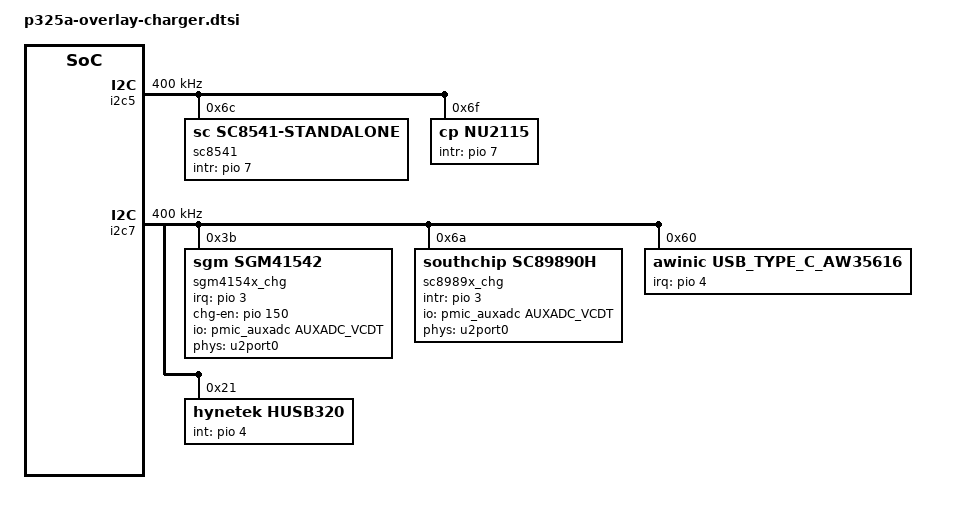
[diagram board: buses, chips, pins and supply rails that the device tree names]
/*[TN.NJDC] charger overlay file.start*/
#include <dt-bindings/iio/mt635x-auxadc.h>
#include <dt-bindings/phy/phy.h>

&charger {
	battery_cv = <4500000>;
};

&pe4 {
	status = "disabled";
};

&pe2 {
	status = "disabled";
};

&pe {
	status = "disabled";
};

&i2c5 {
	clock-frequency = <400000>;
	status = "ok";

	sc8541@6C {
		compatible = "sc,sc8541-standalone";
		reg = <0x6C>;
		charger_name = "primary_dvchg";
		sc8541,intr_gpio = <&pio 7 IRQ_TYPE_EDGE_FALLING>;
		sc8541,intr_gpio_num = <7>;

		sc,sc8541,vbat-ovp-dis = <0>;
		sc,sc8541,vbat-ovp = <90>; /*3840 + val * 10*/
		sc,sc8541,vbat-ovp-alm-dis = <1>;
		sc,sc8541,vbat-ovp-alm = <70>; /*3840 + val * 10*/
		sc,sc8541,ibat-ocp-dis = <1>;
		sc,sc8541,ibat-ocp  = <82>; /*val * 100*/
		sc,sc8541,ibat-ocp-alm-dis = <1>;
		sc,sc8541,ibat-ocp-alm = <80>; /*val * 100*/
		sc,sc8541,ibus-ucp-dis = <0>;
		sc,sc8541,vbus-in-range-dis = <0>;
		sc,sc8541,vbus-pd-en = <0>;
		sc,sc8541,vbus-ovp = <80>; /*7000 + val * 50*/
		sc,sc8541,vbus-ovp-alm-dis = <1>;
		sc,sc8541,vbus-ovp-alm = <34>; /*7000 + val * 50*/
		sc,sc8541,ibus-ocp-dis = <0>;
		sc,sc8541,ibus-ocp = <13>; /*1000 + val * 250*/
		sc,sc8541,tshut-dis = <1>;
		sc,sc8541,tsbus-flt-dis = <1>;
		sc,sc8541,tsbat-flt-dis = <1>;
		sc,sc8541,tdie-alm = <200>; /*25 + val * 0.5*/
		sc,sc8541,tsbus-flt = <21>;
		sc,sc8541,tsbat-flt = <21>;
		sc,sc8541,vac1-ovp = <2>; /*0:6.5V 1:10.5V 2:12V 3:14V 4:16V 5~7:18V*/
		sc,sc8541,vac2-ovp = <2>; /*0:6.5V 1:10.5V 2:12V 3:14V 4:16V 5~7:18V*/
		sc,sc8541,vac1-pd-en = <0>;
		sc,sc8541,vac2-pd-en = <0>;
		sc,sc8541,fsw-set = <5>; /*0:200KHz 1:300KHz 2:400KHz
					3:500KHz 4:600KHz 5:650KHz 6:700KHz 7:750KHz*/
		sc,sc8541,wd-timeout = <0>; /*0:0.5s 1:1s 2:5s 3:30s*/
		sc,sc8541,wd-timeout-dis = <1>;
		sc,sc8541,ibat-sns-r = <0>; /*0:2mho 1:5mho*/
		sc,sc8541,ss-timeout = <7>; /*0:6.25ms 1:12.5ms 2:25ms 3:50ms
					4:100ms 5:400ms 6:1.5s 7:10s*/
		sc,sc8541,ibus-ucp-fall-dg = <1>;
		sc,sc8541,vout-ovp-dis = <0>;
		sc,sc8541,vout-ovp = <3>; /*4700 + val * 100*/
		sc,sc8541,pmid2out-uvp = <7>; /*50 + val * 25*/
		sc,sc8541,pmid2out-ovp = <7>; /*150 + val * 50*/
	};

	nu2115: nu2115-standalone@6F {
		compatible = "cp,nu2115";
		status = "okay";
		charger_name = "primary_dvchg";
		reg = <0x6F>;
		nu2115,intr-gpios = <&pio 7 0x0>;

		ac_ovp = <10500000>;
		vbus_ovp = <10000000>;
		bat_ucp_alm = <9200000>;
		ibat_sns_res = <2>;
		watchdog_dis;
	};
};

&i2c7 {
	clock-frequency = <400000>;
	status = "ok";

	sgm4154x_chg: sgm41542@3B {
		status = "okay";
		compatible = "sgm,sgm41542";
		reg = <0x3B>;

		io-channels = <&pmic_auxadc AUXADC_VCDT>;
		io-channel-names = "pmic_vbus";
		phys = <&u2port0 PHY_TYPE_USB2>;
		phy-names = "usb2-phy";

		sgm,irq-gpio = <&pio 3 IRQ_TYPE_EDGE_FALLING>;     //irq num base on hardware design
		sgm,chg-en-gpio = <&pio 150 0>;   //gpio num base on hardware design  1.MTK parent node name is pio  2.QUALCOMM parent node name is tlmm or other
	};

	sc8989x_chg: chg@6A {
		compatible = "southchip,sc89890h";
		reg = <0x6A>;
		status = "okay";

		eint_name = "chr_stat";
		sc,intr-gpio = <&pio 3 IRQ_TYPE_EDGE_FALLING>;
		charger_name = "primary_chg";
		io-channels = <&pmic_auxadc AUXADC_VCDT>;
		io-channel-names = "pmic_vbus";
		phys = <&u2port0 PHY_TYPE_USB2>;
		phy-names = "usb2-phy";

		sc,sc8989x,ico-en = <0>;
		sc,sc8989x,hvdcp-en = <0>;
		sc,sc8989x,auto-dpdm-en = <0>;
		sc,sc8989x,vsys-min = <5>; /*3500mV*/
		sc,sc8989x,vbatmin-sel = <0>; /*0:2.9V 1:2.5V*/
		sc,sc8989x,itrick = <3>; /*60 + val *60*/
		sc,sc8989x,iterm = <3>; /*30 + val * 60*/
		sc,sc8989x,vbat-cv = <38>; /*3840 + val * 16*/
		sc,sc8989x,vbat-low = <1>; /*0:2.8V 1:3V*/
		sc,sc8989x,vrechg = <0>; /*0:100mV 1:200mV*/
		sc,sc8989x,en-term = <1>;
		sc,sc8989x,stat-dis = <0>;
		sc,sc8989x,wd-time = <0>; /*0:Dis 1:40s 2:80s 3:160s*/
		sc,sc8989x,en-timer = <1>;
		sc,sc8989x,charge-timer = <2>; /*0:5h 1:8h 2:12h 3:20h*/
		sc,sc8989x,bat-comp = <0>; /*val * 20*/
		sc,sc8989x,vclamp = <0>; /*val *32*/
		sc,sc8989x,votg = <12>; /*3900 + val * 100*/
		sc,sc8989x,iboost = <7>; /*0:0.5A 3:1.4A 5:1.875A 7:2.45A*/
		sc,sc8989x,force_vindpm = <0>;
		sc,sc8989x,vindpm = <18>; /*2600 + val * 100*/
	};

	usb_type_c_aw35616@60 {
 		status = "okay";
		compatible = "awinic,usb_type_c_aw35616";
		reg = <0x60>;
 		aw35616,irq-gpio = <&pio 4 0x0>;
		aw35616-tcpc,name = "type_c_port0";
		aw35616-tcpc,role_def = <5>; /* 1: SNK Only, 2: SRC Only, 3: DRP, 4: Try.SRC, 5: Try.SNK */
		aw35616,rp_level = <0>; /* 0: Default, 1: 1.5, 2: 3.0 */
		aw35616-tcpc,notifier_supply_num = <3>; /* the number of notifier supply */
		aw35616_acc_support = <0>; /* 0:support, 1:No support */
		aw35616_toggle_cycle = <0>; /* 0:Disable, 1:40ms, 2:80ms, 3:160ms */
	};

	husb320@21 {
		status = "okay";
		compatible = "hynetek,husb320";
		reg = <0x21>;
		husb320,int-gpio = <&pio 4 0>;
		husb320,int-gpio_num = <4>;
		husb320,init-mode = <20>;                       /* try sink, DRP */
		husb320,host-current = <2>;                     /* 180uA host current */
		husb320,drp-toggle-time =  <1>;                 /* 70ms */
		husb320,drp-duty-time = <0>;                    /* 60 duty time */
		husb320,autosink-threshold = <1>;               /* 3P1V */
		husb320,cc-debounce-time = <3>;                 /* 150ms */
	};
};

/*[TN.NJDC] charger overlay file.end*/
